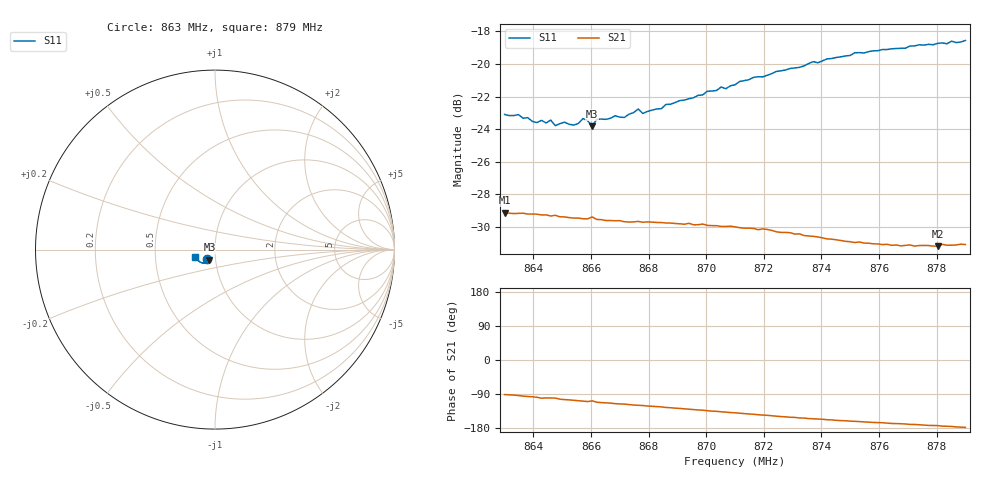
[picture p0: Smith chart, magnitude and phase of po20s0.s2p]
# HZ S RI R 50
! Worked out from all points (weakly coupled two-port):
!   101 points, 863 MHz to 879 MHz, reference 50 ohm
!   highest |S21| = -29.12 dB at 863 MHz (marker M1); lowest = -31.2 dB at 878.04 MHz (marker M2)
!   lowest |S11| = -23.8 dB at 866.04 MHz (marker M3), VSWR 1.14, Z = 46.7 - j5.32 ohm
!   |S11| at or under -10 dB: start of sweep to end of sweep
!   S12 and S22 are empty: the file has one direction only
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8.63e8  -0.0456 -0.0532  -0.000819 -0.035  0 0  0 0
8.6348e8  -0.0442 -0.0542  -0.00226 -0.0347  0 0  0 0
8.6412e8  -0.0396 -0.0529  -0.00501 -0.0343  0 0  0 0
8.646e8  -0.0393 -0.0546  -0.00609 -0.0336  0 0  0 0
8.6476e8  -0.0358 -0.0539  -0.00624 -0.0338  0 0  0 0
8.6508e8  -0.0364 -0.0554  -0.00849 -0.0329  0 0  0 0
8.654e8  -0.035 -0.0547  -0.00947 -0.0323  0 0  0 0
8.6572e8  -0.0363 -0.0575  -0.0106 -0.0318  0 0  0 0
8.6604e8  -0.0307 -0.0567  -0.0104 -0.0323  0 0  0 0
8.662e8  -0.0362 -0.0572  -0.0121 -0.0311  0 0  0 0
8.6684e8  -0.0352 -0.0598  -0.0141 -0.0299  0 0  0 0
8.6716e8  -0.0342 -0.0594  -0.0146 -0.0294  0 0  0 0
8.6764e8  -0.0369 -0.0628  -0.0162 -0.0286  0 0  0 0
8.678e8  -0.0346 -0.0615  -0.0164 -0.0283  0 0  0 0
8.6844e8  -0.0355 -0.0637  -0.0181 -0.0272  0 0  0 0
8.686e8  -0.0358 -0.0661  -0.0188 -0.0266  0 0  0 0
8.71e8  -0.0459 -0.0731  -0.024 -0.0206  0 0  0 0
8.7372e8  -0.068 -0.0756  -0.0268 -0.0125  0 0  0 0
8.7516e8  -0.0824 -0.0704  -0.0269 -0.00883  0 0  0 0
8.7644e8  -0.0924 -0.0622  -0.0271 -0.00603  0 0  0 0
8.7804e8  -0.1046 -0.0495  -0.0274 -0.00331  0 0  0 0
8.79e8  -0.1112 -0.0398  -0.0279 -0.00109  0 0  0 0
